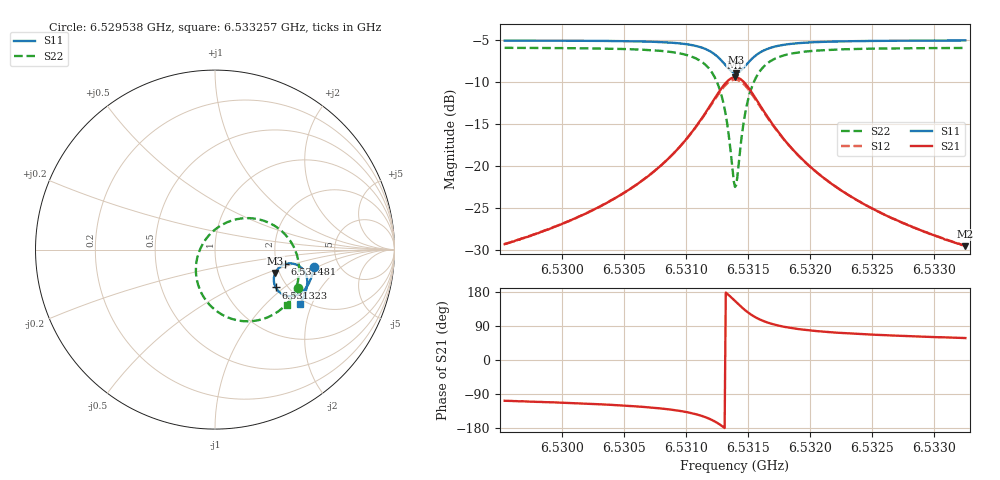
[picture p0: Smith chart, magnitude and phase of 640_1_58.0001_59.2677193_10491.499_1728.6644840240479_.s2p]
#  HZ  S  RI  R  50.00
! Rohde & Schwarz Vector Network Analyzer
! Rohde-Schwarz,ZNB20-2Port,1311601062101988,3.16
! Created: UTC 3/21/2024, 1:19:00 AM
! freq[Hz]  re:S11  im:S11  re:S21  im:S21  re:S12  im:S12  re:S22  im:S22
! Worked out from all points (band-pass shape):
!   401 points, 6.529538 GHz to 6.533257 GHz, reference 50 ohm
!   highest |S21| = -9.40 dB at 6.531397 GHz (marker M1); lowest = -29.5 dB at 6.533257 GHz (marker M2)
!   |S21| within 3 dB of the highest: 6.531213 GHz to 6.531584 GHz (371.5 kHz wide, 0.00569 % of centre)
!   lowest |S11| = -8.9 dB at 6.531406 GHz (marker M3), VSWR 2.13, Z = 95 - j28.4 ohm
!   |S11| at or under -10 dB: nowhere
!   |S22| runs from -22.5 to -5.9 dB; largest |S21 - S12| = 0.014
!   S11 on the Smith chart (normalised r, x): 6.529538 GHz: 3.27, -0.92; 6.531323 GHz: 1.74, -0.87; 6.531481 GHz: 2.21, -0.43; 6.533257 GHz: 1.83, -1.64
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6.5295377e9  0.552 -0.0966  -0.0103 -0.0326  -0.0111 -0.0325  0.4601 -0.2143
6.5301606e9  0.5388 -0.1492  -0.0212 -0.0462  -0.0224 -0.0456  0.4245 -0.2729
6.5304953e9  0.5261 -0.1814  -0.0346 -0.0596  -0.0363 -0.0585  0.3894 -0.313
6.5307835e9  0.5067 -0.214  -0.0597 -0.0783  -0.0622 -0.0765  0.3327 -0.3572
6.5310066e9  0.4746 -0.2437  -0.1073 -0.0985  -0.1104 -0.0944  0.2379 -0.394
6.5311647e9  0.4244 -0.2598  -0.186 -0.1001  -0.1877 -0.0919  0.0959 -0.3866
6.5312577e9  0.3741 -0.2476  -0.2629 -0.0621  -0.2601 -0.0511  -0.0296 -0.308
6.5312949e9  0.3523 -0.2303  -0.2948 -0.0263  -0.2888 -0.0148  -0.076 -0.2414
6.5313227e9  0.3384 -0.2109  -0.3136 0.0109  -0.3047 0.0216  -0.0995 -0.1755
6.5313785e9  0.3282 -0.1581  -0.3197 0.1063  -0.3067 0.1116  -0.0911 -0.0184
6.5313971e9  0.3324 -0.1392  -0.309 0.1392  -0.2958 0.142  -0.0676 0.0328
6.5314064e9  0.3359 -0.1302  -0.3013 0.1545  -0.2882 0.1563  -0.0523 0.0566
6.5314157e9  0.3404 -0.1216  -0.2922 0.1692  -0.2792 0.1698  -0.0347 0.0785
6.5314436e9  0.3585 -0.0999  -0.2575 0.2058  -0.2462 0.2035  0.0283 0.1318
6.5314808e9  0.3884 -0.0822  -0.203 0.2346  -0.1948 0.2302  0.1225 0.1696
6.5315459e9  0.4383 -0.0792  -0.1161 0.2392  -0.1121 0.2351  0.2681 0.1619
6.5316389e9  0.4826 -0.1026  -0.0406 0.2036  -0.0389 0.2012  0.3896 0.0857
6.5317783e9  0.508 -0.1421  0.00363 0.1489  0.00489 0.148  0.4541 -0.0229
6.53202e9  0.514 -0.1893  0.021 0.0947  0.0222 0.0942  0.4681 -0.1335
6.5323082e9  0.5075 -0.2262  0.0226 0.0637  0.0238 0.0633  0.4551 -0.2033
6.5326429e9  0.4959 -0.2584  0.0211 0.045  0.0218 0.0448  0.4359 -0.2523
6.5332565e9  0.4713 -0.3059  0.0177 0.0282  0.0184 0.0281  0.401 -0.31
